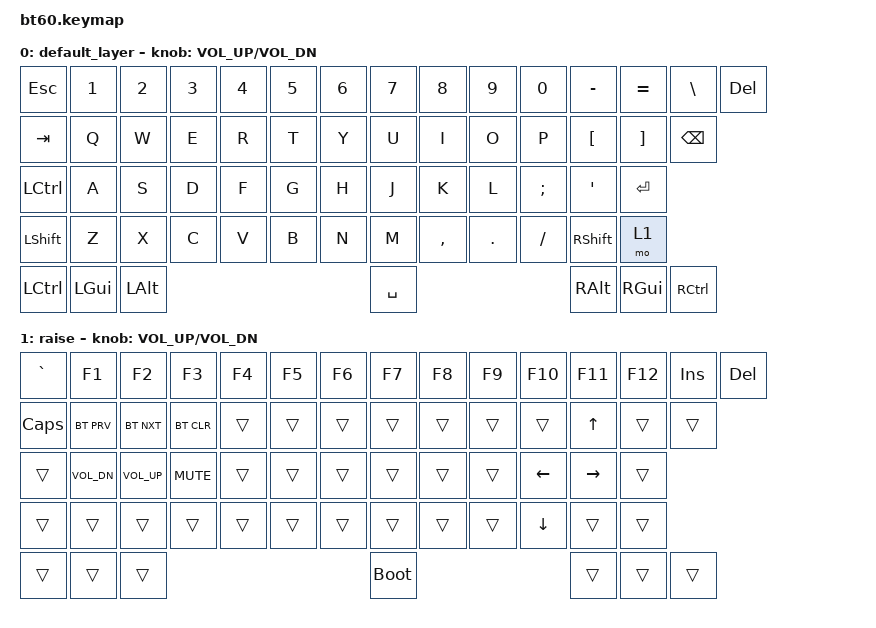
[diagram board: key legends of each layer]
#include <behaviors.dtsi>
#include <dt-bindings/zmk/keys.h>
#include <dt-bindings/zmk/bt.h>

/ {
	keymap {
		compatible = "zmk,keymap";

		default_layer {
				// ------------------------------------------------------------------------------------------
				// | ESC |  1  |  2  |  3  |  4  |  5  |  6  |  7  |  8  |  9  |  0  |  -  |  =  |  \  | `  |
				// | TAB  |  Q  |  W  |  E  |  R  |  T  |  Y  |  U  |  I  |  O  |  P  |  [  |  ]  |  BSPC   |
				// | CTRL  |  A  |  S  |  D  |  F  |  G  |  H  |  J  |  K  |  L  |  ;  |  '  |      ENTER   |
				// |  SHIFT    |  Z  |  X  |  C  |  V  |  B  |  N  |  M  |  ,  |  .  | /   | SHIFT |   1    |
				// |  CAPS  |  ALT  |  WIN |                     SPACE               |   WIN   | ALT | CTRL |
				// ------------------------------------------------------------------------------------------
			bindings = <
				&kp ESC       &kp N1          &kp N2          &kp N3        &kp N4    &kp N5    &kp N6    &kp N7    &kp  N8      &kp  N9     &kp  N0       &kp MINUS     &kp EQUAL          &kp BSLH    &kp DEL
				&kp TAB       &kp Q           &kp W           &kp E         &kp R     &kp T     &kp Y     &kp U     &kp  I       &kp  O      &kp  P        &kp LBKT      &kp RBKT           &kp BSPC
				&kp LCTRL     &kp A           &kp S           &kp D         &kp F     &kp G     &kp H     &kp J     &kp  K       &kp  L      &kp SEMI      &kp SQT       &kp RET
				&kp LSHFT     &kp Z           &kp X           &kp C         &kp V     &kp B     &kp N     &kp M     &kp COMMA    &kp DOT     &kp FSLH      &kp RSHFT     &mo 1
				&kp LCTRL     &kp LGUI        &kp LALT                                                    &kp SPACE                                        &kp RALT      &kp RGUI           &kp RCTRL
			>;
			sensor-bindings = <&inc_dec_kp C_VOL_UP C_VOL_DN>;
		};
		raise {
			bindings = <
				&kp GRAVE        &kp F1          &kp F2          &kp F3        &kp F4    &kp F5    &kp F6    &kp F7    &kp F8       &kp F9      &kp F10       &kp F11       &kp F12            &kp INS      &kp DEL
				&kp CLCK      &bt BT_PRV      &bt BT_NXT      &bt BT_CLR    &trans    &trans    &trans    &trans    &trans       &trans      &trans        &kp UP        &trans             &trans
				&trans        &kp C_VOL_DN    &kp C_VOL_UP    &kp C_MUTE    &trans    &trans    &trans    &trans    &trans       &trans      &kp LEFT      &kp RIGHT     &trans
				&trans        &trans          &trans          &trans        &trans    &trans    &trans    &trans    &trans       &trans      &kp DOWN      &trans        &trans
				&trans        &trans          &trans                                                      &bootloader                                      &trans        &trans             &trans
			>;
			sensor-bindings = <&inc_dec_kp C_VOL_UP C_VOL_DN>;
		};
	};
};
